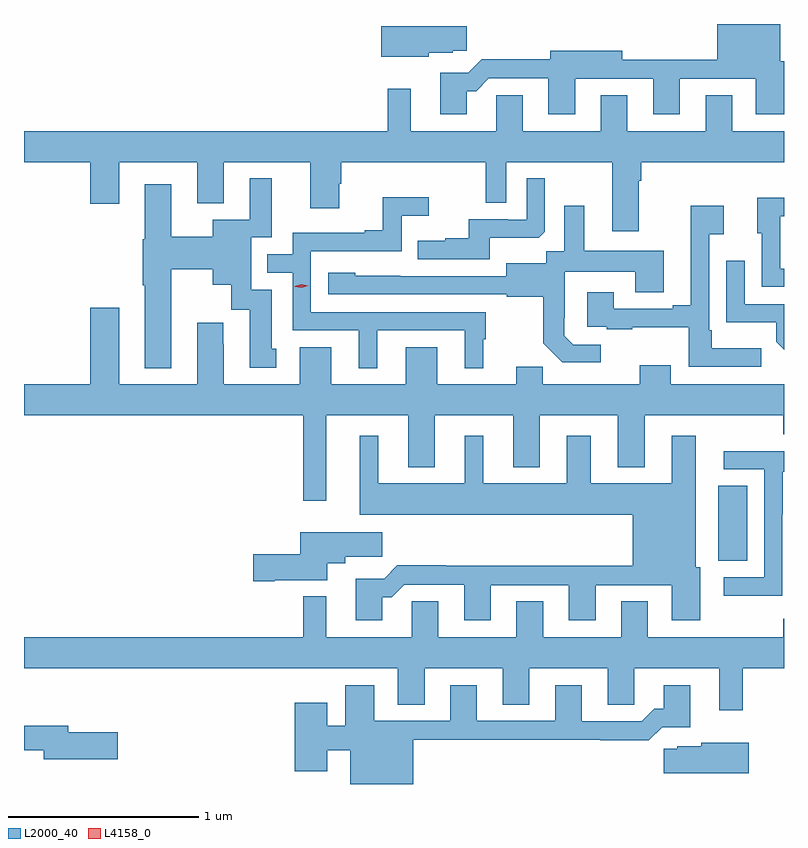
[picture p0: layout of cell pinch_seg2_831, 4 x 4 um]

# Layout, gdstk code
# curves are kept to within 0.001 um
import gdstk
lib = gdstk.Library(unit=1e-6, precision=1e-09)
def R(c, l, rs):  # rectangles x0, y0, x1, y1
    for r in rs: c.add(gdstk.rectangle(r[:2], r[2:], *l))
def P(c, l, *ps):  # polygons
    for p in ps: c.add(gdstk.Polygon(p, *l))
L2000_40 = (2000, 40)
L4158_0 = (4158, 0)

pinch_seg2_831 = lib.new_cell('pinch_seg2_831')
R(pinch_seg2_831, L2000_40, [(806.921,598.918,807.073,599.315)])
P(pinch_seg2_831, L2000_40, [(805.597,601.391),(805.646,601.391),(805.713,601.458),(806.027,601.458),(806.027,601.269),(806.167,601.269),(806.167,601.455),(806.579,601.455),(806.579,601.269),(806.719,601.269),(806.719,601.455),(807.119,601.455),(807.119,601.269),(807.267,601.269),(807.267,601.548),(807.247,601.548),(807.247,601.744),(806.915,601.744),(806.915,601.556),(806.416,601.556),(806.416,601.603),(806.036,601.603),(806.036,601.559),(805.676,601.559),(805.605,601.488),(805.457,601.488),(805.457,601.269),(805.597,601.269)],
  [(805.398,601.592),(805.524,601.592),(805.524,601.603),(805.597,601.603),(805.597,601.732),(805.148,601.732),(805.148,601.571),(805.398,601.571)],
  [(806.443,601.37),(806.303,601.37),(806.303,601.18),(805.891,601.18),(805.891,601.37),(805.752,601.37),(805.752,601.18),(805.303,601.18),(805.303,601.402),(805.182,601.402),(805.182,601.18),(803.267,601.18),(803.267,601.016),(803.615,601.016),(803.615,600.798),(803.767,600.798),(803.767,601.016),(804.179,601.016),(804.179,600.8),(804.319,600.8),(804.319,601.016),(804.773,601.016),(804.773,600.774),(804.925,600.774),(804.925,600.903),(804.938,600.903),(804.938,601.016),(805.698,601.016),(805.698,600.802),(805.806,600.802),(805.806,601.016),(806.363,601.016),(806.363,600.654),(806.503,600.654),(806.503,600.92),(806.516,600.92),(806.516,601.016),(807.267,601.016),(807.267,601.18),(806.995,601.18),(806.995,601.37),(806.855,601.37),(806.855,601.18),(806.443,601.18)],
  [(804.043,600.452),(804.26,600.452),(804.26,600.371),(804.359,600.371),(804.359,600.24),(804.455,600.24),(804.455,599.934),(804.595,599.934),(804.595,600.036),(804.571,600.036),(804.571,600.345),(804.462,600.345),(804.462,600.621),(804.571,600.621),(804.571,600.931),(804.455,600.931),(804.455,600.715),(804.26,600.715),(804.26,600.624),(804.043,600.624),(804.043,600.901),(803.903,600.901),(803.903,600.612),(803.891,600.612),(803.891,600.368),(803.903,600.368),(803.903,599.933),(804.043,599.933)],
  [(805.717,600.62),(805.975,600.62),(806.007,600.651),(806.007,600.931),(805.914,600.931),(805.914,600.714),(805.814,600.714),(805.814,600.717),(805.607,600.717),(805.607,600.616),(805.483,600.616),(805.483,600.604),(805.339,600.604),(805.339,600.507),(805.717,600.507)],
  [(805.126,600.132),(805.586,600.132),(805.586,599.933),(805.684,599.933),(805.684,600.084),(805.696,600.084),(805.696,600.228),(804.777,600.228),(804.777,600.549),(805.254,600.549),(805.254,600.734),(805.396,600.734),(805.396,600.833),(805.156,600.833),(805.156,600.658),(805.061,600.658),(805.061,600.645),(804.681,600.645),(804.681,600.531),(804.548,600.531),(804.548,600.435),(804.681,600.435),(804.681,600.132),(805.028,600.132),(805.028,599.933),(805.126,599.933)],
  [(807.267,600.456),(807.246,600.456),(807.246,600.732),(807.267,600.732),(807.267,600.83),(807.125,600.83),(807.125,600.642),(807.15,600.642),(807.15,600.36),(807.267,600.36)],
  [(806.302,600.057),(806.157,600.057),(806.11,600.104),(806.11,600.199),(806.112,600.199),(806.112,600.44),(806.483,600.44),(806.483,600.331),(806.635,600.331),(806.635,600.55),(806.215,600.55),(806.215,600.787),(806.111,600.787),(806.111,600.548),(806.016,600.548),(806.016,600.484),(805.805,600.484),(805.805,600.417),(805.011,600.418),(805.011,600.436),(804.867,600.436),(804.867,600.321),(805.809,600.321),(805.809,600.309),(806.001,600.309),(806.001,600.063),(806.101,599.963),(806.302,599.963)],
  [(807.148,600.037),(806.887,600.037),(806.887,600.133),(806.874,600.133),(806.874,600.638),(806.95,600.638),(806.95,600.787),(806.777,600.787),(806.777,600.265),(806.681,600.265),(806.681,600.246),(806.371,600.246),(806.371,600.331),(806.231,600.331),(806.231,600.15),(806.335,600.15),(806.335,600.138),(806.467,600.138),(806.467,600.149),(806.766,600.149),(806.766,599.94),(807.148,599.94)],
  [(807.267,600.27),(807.06,600.27),(807.06,600.499),(806.964,600.499),(806.964,600.173),(807.226,600.173),(807.226,600.071),(807.267,600.03)],
  [(804.859,599.684),(805.289,599.684),(805.289,599.411),(805.429,599.411),(805.429,599.684),(805.841,599.684),(805.841,599.411),(805.981,599.411),(805.981,599.684),(806.393,599.684),(806.393,599.411),(806.533,599.411),(806.533,599.684),(807.262,599.684),(807.262,599.585),(807.267,599.585),(807.267,599.848),(806.671,599.848),(806.671,599.947),(806.507,599.947),(806.507,599.848),(805.997,599.848),(805.997,599.939),(805.859,599.939),(805.859,599.848),(805.441,599.848),(805.441,600.043),(805.277,600.043),(805.277,599.848),(804.883,599.848),(804.883,600.043),(804.719,600.043),(804.719,599.848),(804.319,599.848),(804.319,600.059),(804.316,600.059),(804.316,600.172),(804.179,600.172),(804.179,599.848),(803.767,599.848),(803.767,600.25),(803.615,600.25),(803.615,599.848),(803.267,599.848),(803.267,599.684),(804.738,599.684),(804.738,599.235),(804.859,599.235)],
  [(805.153,598.727),(805.202,598.727),(805.269,598.794),(805.583,598.794),(805.583,598.605),(805.723,598.605),(805.723,598.791),(806.135,598.791),(806.135,598.605),(806.275,598.605),(806.275,598.791),(806.675,598.791),(806.675,598.605),(806.827,598.605),(806.827,598.884),(806.803,598.884),(806.803,599.578),(806.675,599.578),(806.675,599.326),(806.251,599.326),(806.251,599.578),(806.123,599.578),(806.123,599.326),(805.684,599.326),(805.684,599.578),(805.586,599.578),(805.586,599.326),(805.132,599.326),(805.132,599.578),(805.034,599.578),(805.034,599.162),(806.471,599.162),(806.471,598.892),(805.487,598.892),(805.487,598.895),(805.232,598.895),(805.162,598.825),(805.013,598.825),(805.013,598.605),(805.153,598.605)],
  [(807.258,599.164),(807.261,599.164),(807.261,599.388),(807.267,599.388),(807.267,599.496),(806.949,599.496),(806.949,599.4),(807.162,599.4),(807.162,598.833),(806.949,598.833),(806.949,598.735),(807.258,598.735)],
  [(804.586,598.817),(804.862,598.817),(804.862,598.907),(804.958,598.907),(804.958,598.939),(805.153,598.939),(805.153,599.068),(804.722,599.068),(804.722,598.952),(804.474,598.952),(804.474,598.81),(804.586,598.81)],
  [(807.049,598.352),(807.267,598.352),(807.267,598.615),(807.262,598.615),(807.262,598.516),(806.551,598.516),(806.551,598.706),(806.411,598.706),(806.411,598.516),(805.999,598.516),(805.999,598.706),(805.859,598.706),(805.859,598.516),(805.447,598.516),(805.447,598.706),(805.308,598.706),(805.308,598.516),(804.859,598.516),(804.859,598.732),(804.738,598.732),(804.738,598.516),(803.267,598.516),(803.267,598.352),(805.235,598.352),(805.235,598.162),(805.375,598.162),(805.375,598.352),(805.787,598.352),(805.787,598.162),(805.927,598.162),(805.927,598.352),(806.339,598.352),(806.339,598.162),(806.478,598.162),(806.478,598.352),(806.927,598.352),(806.927,598.131),(807.049,598.131)],
  [(805.315,597.976),(806.299,597.976),(806.299,597.974),(806.555,597.974),(806.625,598.044),(806.773,598.044),(806.773,598.264),(806.633,598.264),(806.633,598.141),(806.584,598.141),(806.517,598.074),(806.203,598.074),(806.203,598.264),(806.063,598.264),(806.063,598.077),(805.651,598.077),(805.651,598.264),(805.511,598.264),(805.511,598.077),(805.111,598.077),(805.111,598.264),(804.959,598.264),(804.959,598.051),(804.862,598.051),(804.862,598.171),(804.692,598.171),(804.692,597.81),(804.862,597.81),(804.862,597.922),(804.983,597.922),(804.983,597.744),(805.315,597.744)],
  [(803.761,598.017),(803.5,598.017),(803.5,598.051),(803.267,598.051),(803.267,597.922),(803.372,597.922),(803.372,597.875),(803.761,597.875)],
  [(807.082,597.961),(806.832,597.961),(806.832,597.943),(806.706,597.943),(806.706,597.929),(806.634,597.929),(806.634,597.8),(807.082,597.8)])
P(pinch_seg2_831, L4158_0, [(804.728,600.355),(804.692,600.362),(804.692,600.362),(804.692,600.363),(804.726,600.375),(804.761,600.367),(804.762,600.367),(804.761,600.367)])

lib.write_gds('pinch_seg2_831.gds')
